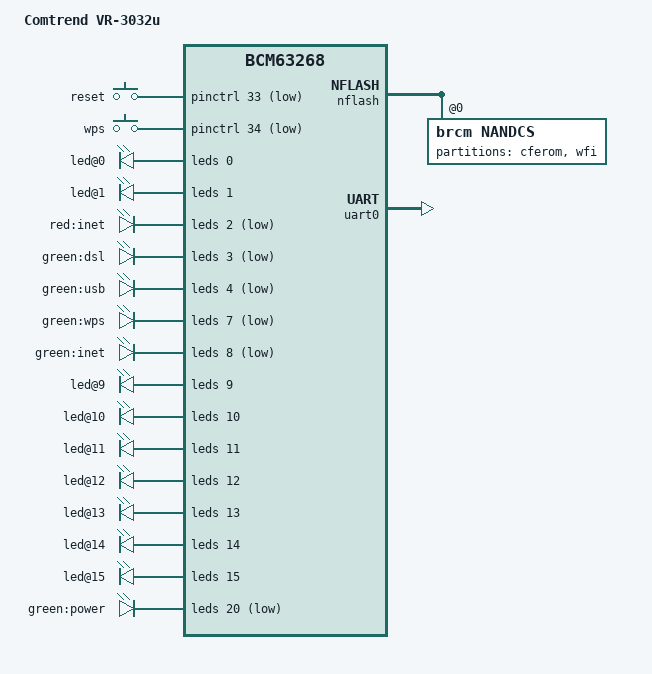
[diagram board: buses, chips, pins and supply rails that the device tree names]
// SPDX-License-Identifier: GPL-2.0-or-later

#include "bcm63268.dtsi"

#include <dt-bindings/input/input.h>

/ {
	model = "Comtrend VR-3032u";
	compatible = "comtrend,vr-3032u", "brcm,bcm63168", "brcm,bcm63268";

	aliases {
		led-boot = &led_power_green;
		led-failsafe = &led_power_green;
		led-running = &led_power_green;
		led-upgrade = &led_power_green;
	};

	chosen {
		bootargs = "rootfstype=squashfs,ubifs noinitrd console=ttyS0,115200";
		stdout-path = "serial0:115200n8";
	};

	keys {
		compatible = "gpio-keys-polled";
		#address-cells = <1>;
		#size-cells = <0>;
		poll-interval = <20>;

		reset {
			label = "reset";
			gpios = <&pinctrl 33 1>;
			linux,code = <KEY_RESTART>;
			debounce-interval = <60>;
		};

		wps {
			label = "wps";
			gpios = <&pinctrl 34 1>;
			linux,code = <KEY_WPS_BUTTON>;
			debounce-interval = <60>;
		};
	};
};

&leds {
	status = "okay";
	brcm,serial-leds;
	brcm,serial-dat-low;
	brcm,serial-shift-inv;

	pinctrl-names = "default";
	pinctrl-0 = <&pinctrl_serial_led>;

	led@0 {
		/* GPHY0 Spd 0 */
		reg = <0>;
		brcm,hardware-controlled;
		brcm,link-signal-sources = <0>;
	};

	led@1 {
		/* GPHY0 Spd 1 */
		reg = <1>;
		brcm,hardware-controlled;
		brcm,link-signal-sources = <1>;
	};

	led@2 {
		reg = <2>;
		active-low;
		label = "red:inet";
	};

	led@3 {
		reg = <3>;
		active-low;
		label = "green:dsl";
	};

	led@4 {
		reg = <4>;
		active-low;
		label = "green:usb";
	};

	led@7 {
		reg = <7>;
		active-low;
		label = "green:wps";
	};

	led@8 {
		reg = <8>;
		active-low;
		label = "green:inet";
	};

	led@9 {
		/* EPHY0 Act */
		reg = <9>;
		brcm,hardware-controlled;
	};

	led@10 {
		/* EPHY1 Act */
		reg = <10>;
		brcm,hardware-controlled;
	};

	led@11 {
		/* EPHY2 Act */
		reg = <11>;
		brcm,hardware-controlled;
	};

	led@12 {
		/* GPHY0 Act */
		reg = <12>;
		brcm,hardware-controlled;
	};

	led@13 {
		/* EPHY0 Spd */
		reg = <13>;
		brcm,hardware-controlled;
	};

	led@14 {
		/* EPHY1 Spd */
		reg = <14>;
		brcm,hardware-controlled;
	};

	led@15 {
		/* EPHY2 Spd */
		reg = <15>;
		brcm,hardware-controlled;
	};

	led_power_green: led@20 {
		reg = <20>;
		active-low;
		label = "green:power";
		default-state = "on";
	};
};

&nflash {
	status = "okay";

	nandcs@0 {
		compatible = "brcm,nandcs";
		#size-cells = <1>;
		#address-cells = <1>;
		reg = <0>;
		nand-ecc-step-size = <512>;
		nand-ecc-strength = <15>;
		nand-on-flash-bbt;
		brcm,nand-oob-sector-size = <64>;

		partitions {
			compatible = "fixed-partitions";
			#address-cells = <1>;
			#size-cells = <1>;

			partition@0 {
				label = "cferom";
				reg = <0x0000000 0x0020000>;
				read-only;
			};

			partition@20000 {
				compatible = "brcm,wfi-split";
				label = "wfi";
				reg = <0x0020000 0x7ac0000>;
			};
		};
	};
};

&uart0 {
	status = "okay";
};
